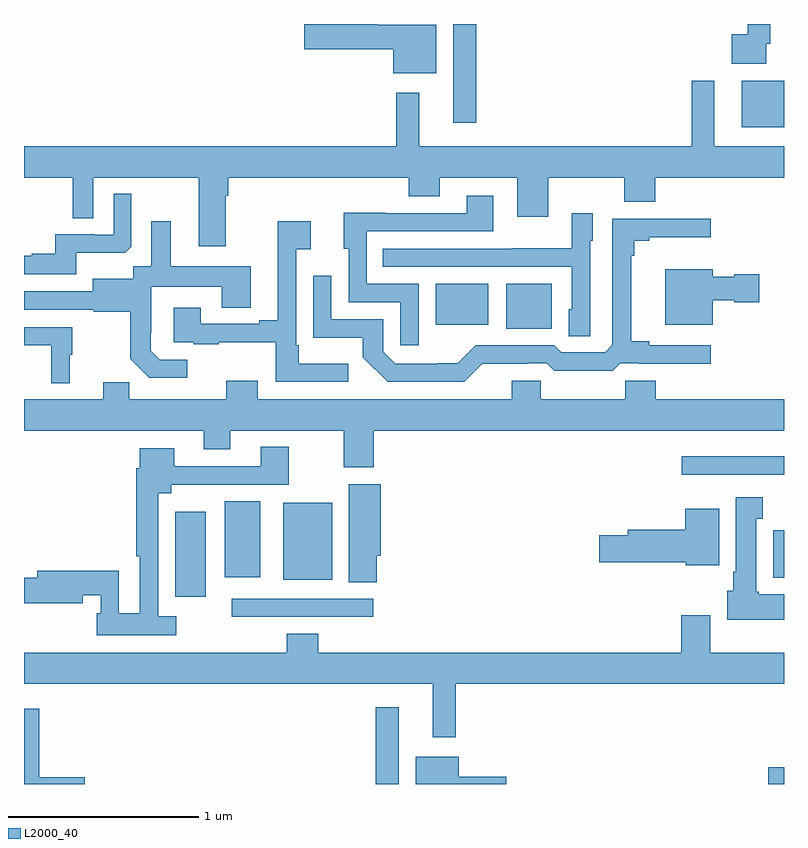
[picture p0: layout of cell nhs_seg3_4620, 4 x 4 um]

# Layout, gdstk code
import gdstk
lib = gdstk.Library(unit=1e-6, precision=1e-09)
def R(c, l, rs):  # rectangles x0, y0, x1, y1
    for r in rs: c.add(gdstk.rectangle(r[:2], r[2:], *l))
def P(c, l, *ps):  # polygons
    for p in ps: c.add(gdstk.Polygon(p, *l))
L2000_40 = (2000, 40)

nhs_seg3_4620 = lib.new_cell('nhs_seg3_4620')
R(nhs_seg3_4620, L2000_40, [(360.852,688.4,360.973,688.804), (362.916,688.4,363,688.488), (360.093,689.28,360.838,689.376), (359.795,689.385,359.956,689.833), (360.365,689.474,360.622,689.881), (362.943,689.486,363,689.736), (360.056,689.489,360.244,689.887), (362.463,690.027,363,690.124), (361.538,690.797,361.777,691.033), (361.166,690.818,361.444,691.033), (362.777,691.856,363,692.101), (361.259,691.881,361.381,692.4)])
P(nhs_seg3_4620, L2000_40, [(362.907,692.296),(362.927,692.296),(362.927,692.4),(362.81,692.4),(362.81,692.345),(362.724,692.345),(362.724,692.192),(362.907,692.192)],
  [(361.171,692.395),(360.858,692.395),(360.858,692.4),(360.474,692.4),(360.474,692.267),(360.944,692.267),(360.944,692.141),(361.171,692.141)],
  [(360.061,691.496),(360.074,691.496),(360.074,691.592),(361.025,691.592),(361.025,691.493),(361.189,691.493),(361.189,691.592),(361.595,691.592),(361.595,691.386),(361.759,691.386),(361.759,691.592),(362.159,691.592),(362.159,691.464),(362.323,691.464),(362.323,691.592),(363,691.592),(363,691.756),(362.632,691.756),(362.632,692.101),(362.515,692.101),(362.515,691.756),(361.081,691.756),(361.081,692.038),(360.96,692.038),(360.96,691.756),(359,691.756),(359,691.592),(359.256,691.592),(359.256,691.378),(359.364,691.378),(359.364,691.592),(359.921,691.592),(359.921,691.23),(360.061,691.23)],
  [(359.275,691.196),(359.533,691.196),(359.565,691.227),(359.565,691.507),(359.472,691.507),(359.472,691.29),(359.372,691.29),(359.372,691.293),(359.165,691.293),(359.165,691.192),(359.041,691.192),(359.041,691.18),(359,691.18),(359,691.083),(359.275,691.083)],
  [(361.077,691.032),(360.804,691.032),(360.804,691.308),(361.471,691.308),(361.471,691.495),(361.331,691.495),(361.331,691.404),(360.901,691.404),(360.901,691.406),(360.683,691.406),(360.683,691.218),(360.708,691.218),(360.708,690.936),(360.981,690.936),(360.981,690.708),(361.077,690.708)],
  [(361.98,691.26),(361.993,691.26),(361.993,691.405),(361.884,691.405),(361.884,691.219),(361.567,691.219),(361.567,691.218),(360.889,691.218),(360.889,691.122),(361.884,691.122),(361.884,690.9),(361.868,690.9),(361.868,690.757),(361.98,690.757)],
  [(361.412,690.611),(361.652,690.611),(361.652,690.615),(361.752,690.615),(361.792,690.576),(362.099,690.576),(362.139,690.615),(362.233,690.615),(362.233,690.611),(362.614,690.611),(362.614,690.708),(362.29,690.708),(362.29,690.731),(362.195,690.731),(362.195,691.181),(362.213,691.181),(362.213,691.258),(362.29,691.258),(362.29,691.277),(362.614,691.277),(362.614,691.374),(362.097,691.374),(362.097,690.711),(362.058,690.672),(361.827,690.672),(361.791,690.708),(361.377,690.708),(361.283,690.614),(361.178,690.614),(361.178,690.612),(360.954,690.612),(360.891,690.675),(360.891,690.846),(360.618,690.846),(360.618,691.075),(360.522,691.075),(360.522,690.749),(360.784,690.749),(360.784,690.647),(360.914,690.516),(361.317,690.516)],
  [(359.86,690.633),(359.715,690.633),(359.668,690.68),(359.668,690.775),(359.67,690.775),(359.67,691.016),(360.041,691.016),(360.041,690.907),(360.193,690.907),(360.193,691.126),(359.773,691.126),(359.773,691.363),(359.669,691.363),(359.669,691.124),(359.574,691.124),(359.574,691.06),(359.363,691.06),(359.363,690.993),(359,690.993),(359,690.897),(359.367,690.897),(359.367,690.885),(359.559,690.885),(359.559,690.639),(359.659,690.539),(359.86,690.539)],
  [(360.706,690.613),(360.445,690.613),(360.445,690.709),(360.432,690.709),(360.432,691.214),(360.508,691.214),(360.508,691.363),(360.335,691.363),(360.335,690.841),(360.239,690.841),(360.239,690.822),(359.929,690.822),(359.929,690.907),(359.789,690.907),(359.789,690.726),(359.893,690.726),(359.893,690.714),(360.025,690.714),(360.025,690.725),(360.324,690.725),(360.324,690.516),(360.706,690.516)],
  [(362.626,690.947),(362.739,690.947),(362.739,690.935),(362.869,690.935),(362.869,691.082),(362.739,691.082),(362.739,691.069),(362.626,691.069),(362.626,691.108),(362.375,691.108),(362.375,690.818),(362.626,690.818)],
  [(359.242,690.66),(359.254,690.66),(359.254,690.804),(359,690.804),(359,690.708),(359.144,690.708),(359.144,690.509),(359.242,690.509)],
  [(360.842,690.26),(363,690.26),(363,690.424),(362.324,690.424),(362.324,690.522),(362.164,690.522),(362.164,690.424),(361.719,690.424),(361.719,690.522),(361.568,690.522),(361.568,690.424),(360.229,690.424),(360.229,690.523),(360.065,690.523),(360.065,690.424),(359.555,690.424),(359.555,690.515),(359.417,690.515),(359.417,690.424),(359,690.424),(359,690.26),(359.945,690.26),(359.945,690.161),(360.085,690.161),(360.085,690.26),(360.682,690.26),(360.682,690.066),(360.842,690.066)],
  [(359.8,689.284),(359.706,689.284),(359.706,689.93),(359.776,689.93),(359.776,689.976),(360.393,689.976),(360.393,690.175),(360.245,690.175),(360.245,690.072),(359.791,690.072),(359.791,690.166),(359.609,690.166),(359.609,690.062),(359.59,690.062),(359.59,689.599),(359.61,689.599),(359.61,689.3),(359.499,689.3),(359.499,689.522),(359.069,689.522),(359.069,689.486),(359,689.486),(359,689.351),(359.308,689.351),(359.308,689.394),(359.403,689.394),(359.403,689.298),(359.383,689.298),(359.383,689.184),(359.8,689.184)],
  [(360.857,689.601),(360.878,689.601),(360.878,689.977),(360.71,689.977),(360.71,689.461),(360.857,689.461)],
  [(363,689.398),(362.868,689.398),(362.868,689.412),(362.854,689.412),(362.854,689.795),(362.887,689.795),(362.887,689.908),(362.747,689.908),(362.747,689.518),(362.732,689.518),(362.732,689.418),(362.702,689.418),(362.702,689.264),(363,689.264)],
  [(362.659,689.848),(362.48,689.848),(362.48,689.738),(362.177,689.738),(362.177,689.708),(362.028,689.708),(362.028,689.566),(362.484,689.566),(362.484,689.552),(362.659,689.552)],
  [(361.273,688.928),(363,688.928),(363,689.092),(362.611,689.092),(362.611,689.287),(362.459,689.287),(362.459,689.092),(360.548,689.092),(360.548,689.191),(360.383,689.191),(360.383,689.092),(359,689.092),(359,688.928),(361.151,688.928),(361.151,688.647),(361.273,688.647)],
  [(359.32,688.436),(359.081,688.436),(359.081,688.795),(359,688.795),(359,688.4),(359.32,688.4)],
  [(361.537,688.437),(361.288,688.437),(361.288,688.543),(361.061,688.543),(361.061,688.4),(361.537,688.4)])

lib.write_gds('nhs_seg3_4620.gds')
